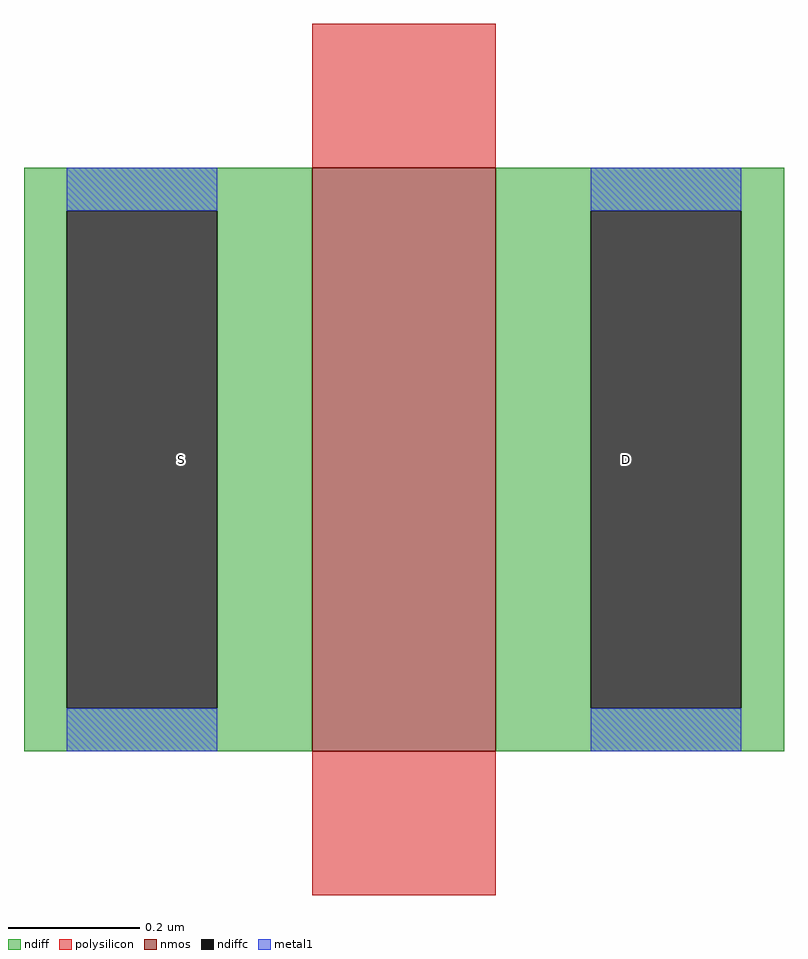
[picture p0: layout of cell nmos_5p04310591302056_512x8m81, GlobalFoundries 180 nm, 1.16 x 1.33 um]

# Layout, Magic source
magic
tech gf180mcuD
magscale 1 10
<< nmos >>
rect 0 0 56 178
<< ndiff >>
rect -88 165 0 178
rect -88 13 -75 165
rect -29 13 0 165
rect -88 0 0 13
rect 56 165 144 178
rect 56 13 85 165
rect 131 13 144 165
rect 56 0 144 13
<< ndiffc >>
rect -75 13 -29 165
rect 85 13 131 165
<< polysilicon >>
rect 0 178 56 222
rect 0 -44 56 0
<< metal1 >>
rect -75 165 -29 178
rect -75 0 -29 13
rect 85 165 131 178
rect 85 0 131 13
<< labels >>
flabel ndiffc -40 89 -40 89 0 FreeSans 93 0 0 0 S
flabel ndiffc 96 89 96 89 0 FreeSans 93 0 0 0 D
<< end >>
